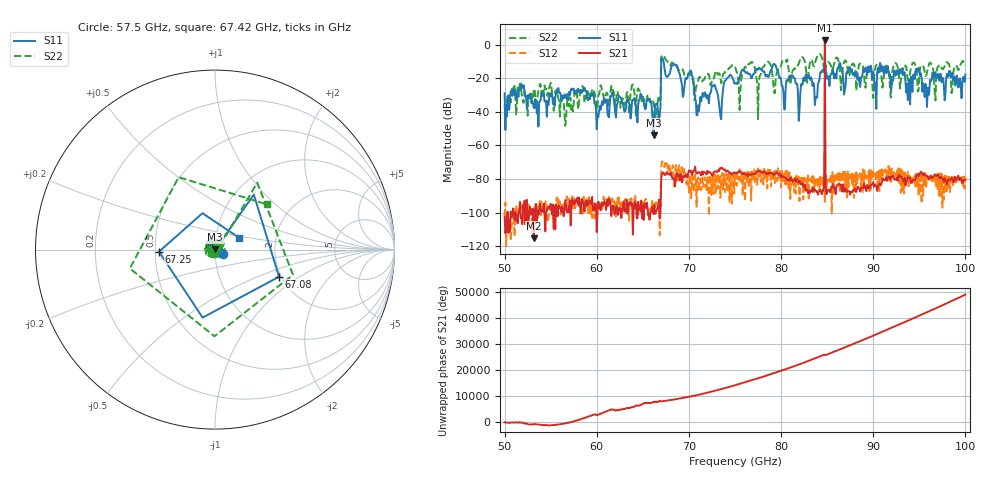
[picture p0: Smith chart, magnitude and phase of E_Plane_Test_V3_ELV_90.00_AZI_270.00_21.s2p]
! 11/26/2026 4:13:12 PM
! C:\ANRITSUVNA\TEMP\TEMP.S2P
! CHANNEL.1
! TR.MEASUREMENT
! RAW.DATA
# HZ S RI R 50.0
! FREQ.HZ  S11RE  S11IM  S21RE  S21IM  S12RE  S12IM  S22RE  S22IM
!; PortSelection: Port_12
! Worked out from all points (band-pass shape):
!   601 points, 50 GHz to 100 GHz, reference 50 ohm
!   highest |S21| = 2.45 dB at 84.75 GHz (marker M1); lowest = -115.3 dB at 53.17 GHz (marker M2)
!   |S21| within 3 dB of the highest: 84.7471 GHz to 84.75286 GHz (5.76 MHz wide, 0.0068 % of centre)
!   lowest |S11| = -54.0 dB at 66.17 GHz (marker M3), VSWR 1.00, Z = 50.1 + j0.144 ohm
!   |S11| at or under -10 dB: start of sweep to 67 GHz; 67.24 GHz to 84.72 GHz (17.47 GHz wide, 23 % of centre); 84.79 GHz to end of sweep
!   |S22| runs from -48.2 to -5.6 dB; largest |S21 - S12| = 1.3
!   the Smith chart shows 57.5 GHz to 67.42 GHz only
!   S11 on the Smith chart (normalised r, x): 57.5 GHz: 1.09, -0.05; 67.08 GHz: 1.95, -0.69; 67.25 GHz: 0.52, -0.01; 67.42 GHz: 1.29, +0.18
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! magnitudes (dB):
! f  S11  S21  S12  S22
! 50 GHz  -29.0  -102.4  -102.1  -36.1
! 53.17 GHz  -37.5  -115.3  -100.0  -27.4
! 57.5 GHz  -26.2  -92.9  -91.2  -34.6
! 58.42 GHz  -27.1  -92.1  -92.3  -24.7
! 60.17 GHz  -43.3  -93.6  -94.7  -30.4
! 66.17 GHz  -54.0  -100.8  -93.9  -34.0
! 66.67 GHz  -41.5  -97.4  -96.5  -31.6
! 67.08 GHz  -8.2  -76.9  -69.5  -6.8
! 67.25 GHz  -10.1  -76.2  -71.3  -6.3
! 67.42 GHz  -16.6  -77.6  -70.5  -8.3
! 70.25 GHz  -16.0  -75.1  -91.3  -18.8
! 70.92 GHz  -42.1  -76.9  -80.5  -23.1
! 75 GHz  -23.3  -76.5  -76.7  -13.0
! 79.25 GHz  -11.5  -78.0  -74.3  -28.8
! 80.25 GHz  -28.0  -78.9  -76.4  -9.3
! 83.42 GHz  -24.6  -87.7  -86.4  -10.8
! 84.75 GHz  -5.7  2.5  -93.6  -16.6
! 85.08 GHz  -18.8  -86.6  -81.4  -10.4
! 91.67 GHz  -16.8  -78.8  -72.2  -15.2
! 94.83 GHz  -14.9  -77.1  -76.9  -27.9
! 95.83 GHz  -37.1  -78.5  -78.2  -16.5
! 100 GHz  -17.8  -80.3  -78.8  -12.6
